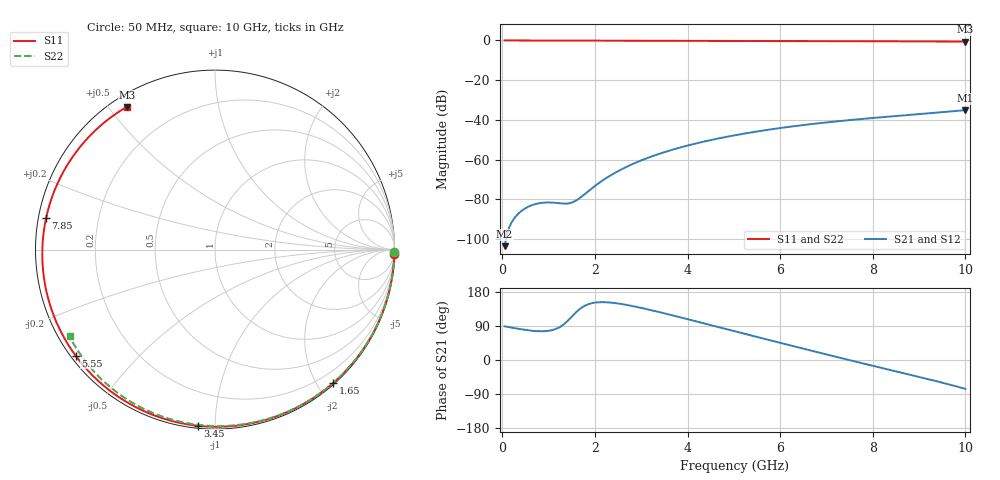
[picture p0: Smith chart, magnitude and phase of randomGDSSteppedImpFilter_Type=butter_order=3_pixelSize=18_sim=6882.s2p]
! freq	dB(S11)	phase(S11)	dB(S12)	phase(S12)
!  dB(S21)	phase(S21)	dB(S22)	phase(S22)
!S-par simulation data
#  GHz  S  DB  R 50
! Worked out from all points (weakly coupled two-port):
!   200 points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, 50 MHz to 10 GHz, reference 50 ohm
!   highest |S21| = -35.13 dB at 10 GHz (marker M1); lowest = -103.7 dB at 50 MHz (marker M2)
!   lowest |S11| = -0.6 dB at 10 GHz (marker M3), VSWR 29.61, Z = 2.21 + j27.8 ohm
!   |S11| at or under -10 dB: nowhere
!   |S22| runs from -0.5 to 0.0 dB; largest |S21 - S12| = 0
!   S11 on the Smith chart (normalised r, x): 50 MHz: 0, -75; 1.65 GHz: 0.02, -2.22; 3.45 GHz: 0.01, -0.91; 5.55 GHz: 0.01, -0.34; 7.85 GHz: 0.02, +0.09; 10 GHz: 0.04, +0.56
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0.05  -0.00 -1.5  -103.67 88.8  -103.67 88.8  -0.00 -0.9
0.4  -0.02 -12.0  -86.16 81.2  -86.16 81.2  -0.01 -6.9
0.8  -0.03 -23.9  -82.02 75.9  -82.02 75.9  -0.02 -13.7
1.2  -0.04 -35.6  -81.96 84.2  -81.96 84.2  -0.03 -20.5
1.65  -0.06 -48.5  -79.79 132.2  -79.79 132.2  -0.04 -28.1
1.75  -0.06 -51.3  -78.01 140.9  -78.01 140.9  -0.04 -29.7
2.15  -0.08 -62.2  -70.81 152.6  -70.81 152.6  -0.05 -36.3
2.5  -0.09 -71.6  -65.86 149.1  -65.86 149.1  -0.05 -42.1
2.9  -0.10 -81.9  -61.41 140.1  -61.41 140.1  -0.06 -48.5
3.4  -0.12 -94.3  -57.05 126.1  -57.05 126.1  -0.08 -56.4
3.45  -0.12 -95.6  -56.67 124.6  -56.67 124.6  -0.08 -57.2
3.8  -0.13 -103.9  -54.21 114.0  -54.21 114.0  -0.09 -62.7
4.2  -0.15 -113.2  -51.80 101.5  -51.80 101.5  -0.10 -68.8
5.05  -0.19 -132.1  -47.66 74.9  -47.66 74.9  -0.13 -81.5
5.55  -0.21 -142.7  -45.69 59.3  -45.69 59.3  -0.15 -88.7
6.15  -0.25 -155.3  -43.67 40.7  -43.67 40.7  -0.17 -97.2
6.7  -0.29 -166.7  -42.08 23.7  -42.08 23.7  -0.20 -104.8
7.3  -0.33 -179.0  -40.58 5.5  -40.58 5.5  -0.24 -113.0
7.85  -0.38 169.5  -39.38 -10.8  -39.38 -10.8  -0.28 -120.4
8.35  -0.42 158.9  -38.38 -25.5  -38.38 -25.5  -0.33 -127.0
9.15  -0.50 141.4  -36.82 -49.1  -36.82 -49.1  -0.40 -137.7
10  -0.59 121.7  -35.13 -76.3  -35.13 -76.3  -0.50 -149.2
